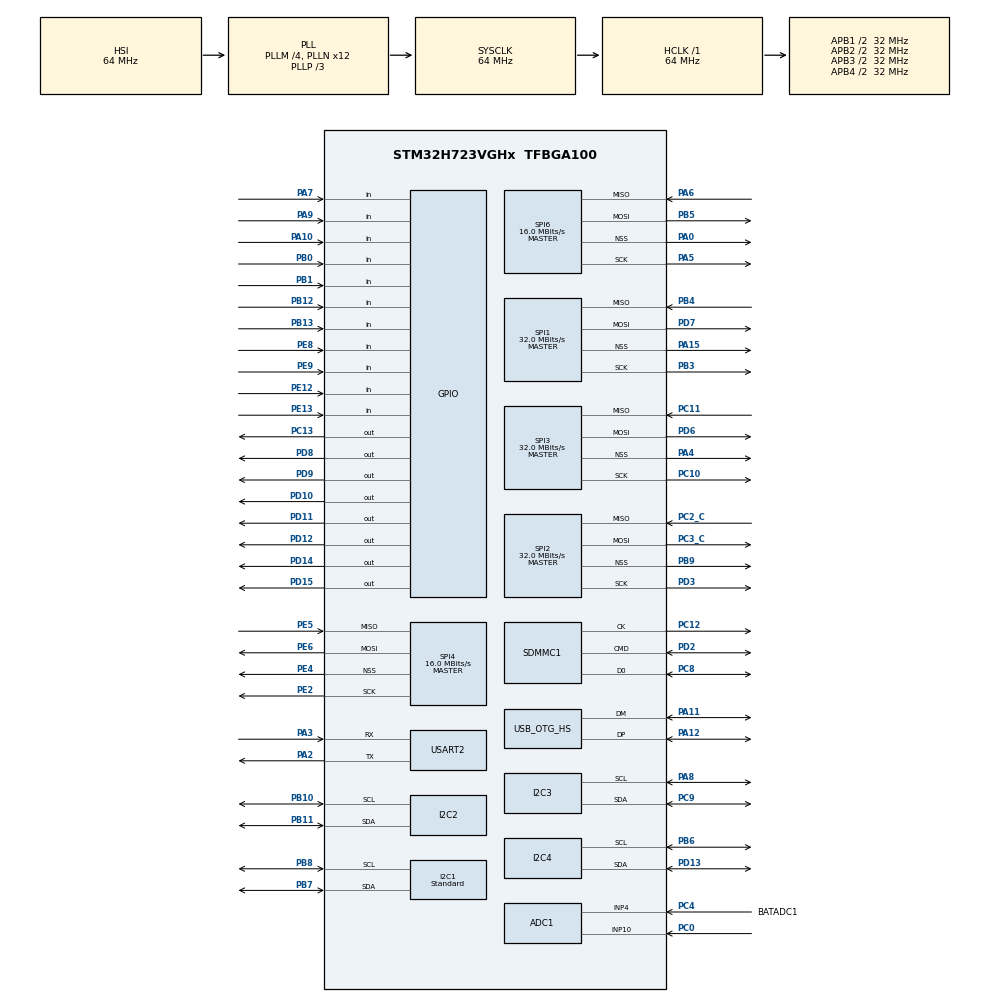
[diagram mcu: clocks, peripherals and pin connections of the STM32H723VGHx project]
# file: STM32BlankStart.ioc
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ADC1.Channel-5\#ChannelRegularConversion=ADC_CHANNEL_4
ADC1.NbrOfConversionFlag=1
ADC1.OffsetNumber-5\#ChannelRegularConversion=ADC_OFFSET_NONE
ADC1.OffsetSignedSaturation-5\#ChannelRegularConversion=DISABLE
ADC1.Rank-5\#ChannelRegularConversion=1
ADC1.SamplingTime-5\#ChannelRegularConversion=ADC_SAMPLETIME_1CYCLE_5
ADC1.master=1
I2C1.I2C_Speed_Mode=I2C_Standard
I2C1.OwnAddress=0x77
I2C1.Timing=0x00707CBB
I2C2.OwnAddress=0x77
I2C2.Timing=0x00707CBB
I2C3.OwnAddress=0x77
I2C3.Timing=0x00707CBB
I2C4.Timing=0x00707CBB
Mcu.Family=STM32H7
Mcu.Name=STM32H723VGHx
Mcu.Package=TFBGA100
NVIC.OTG_HS_IRQn=true\:0\:0\:false\:false\:true\:false\:true\:true
NVIC.PriorityGroup=NVIC_PRIORITYGROUP_4
PA0.Mode=NSS_Signal_Hard_Output
PA0.Signal=SPI6_NSS
PA10.Signal=GPIO_Input
PA11.Mode=Device_Only_FS
PA11.Signal=USB_OTG_HS_DM
PA12.Mode=Device_Only_FS
PA12.Signal=USB_OTG_HS_DP
PA13(JTMS/SWDIO).Mode=Serial_Wire
PA13(JTMS/SWDIO).Signal=DEBUG_JTMS-SWDIO
PA14(JTCK/SWCLK).Mode=Serial_Wire
PA14(JTCK/SWCLK).Signal=DEBUG_JTCK-SWCLK
PA15(JTDI).Mode=NSS_Signal_Hard_Output
PA15(JTDI).Signal=SPI1_NSS
PA2.Mode=Asynchronous
PA2.Signal=USART2_TX
PA3.Mode=Asynchronous
PA3.Signal=USART2_RX
PA4.Mode=NSS_Signal_Hard_Output
PA4.Signal=SPI3_NSS
PA5.Mode=Full_Duplex_Master
PA5.Signal=SPI6_SCK
PA6.Mode=Full_Duplex_Master
PA6.Signal=SPI6_MISO
PA7.Signal=GPIO_Input
PA8.Mode=I2C
PA8.Signal=I2C3_SCL
PA9.Signal=GPIO_Input
PB0.Signal=GPIO_Input
PB1.Signal=GPIO_Input
PB10.Mode=I2C
PB10.Signal=I2C2_SCL
PB11.Mode=I2C
PB11.Signal=I2C2_SDA
PB12.Signal=GPIO_Input
PB13.Signal=GPIO_Input
PB3(JTDO/TRACESWO).Mode=Full_Duplex_Master
PB3(JTDO/TRACESWO).Signal=SPI1_SCK
PB4(NJTRST).Mode=Full_Duplex_Master
PB4(NJTRST).Signal=SPI1_MISO
PB5.Mode=Full_Duplex_Master
PB5.Signal=SPI6_MOSI
PB6.Mode=I2C
PB6.Signal=I2C4_SCL
PB7.Mode=I2C
PB7.Signal=I2C1_SDA
PB8.Mode=I2C
PB8.Signal=I2C1_SCL
PB9.Mode=NSS_Signal_Hard_Output
PB9.Signal=SPI2_NSS
PC0.Signal=ADCx_INP10
PC10.Mode=Full_Duplex_Master
PC10.Signal=SPI3_SCK
PC11.Mode=Full_Duplex_Master
PC11.Signal=SPI3_MISO
PC12.Mode=mmc_1_bit
PC12.Signal=SDMMC1_CK
PC13.Signal=GPIO_Output
PC14-OSC32_IN.Mode=LSE-External-Oscillator
PC14-OSC32_IN.Signal=RCC_OSC32_IN
PC15-OSC32_OUT.Mode=LSE-External-Oscillator
PC15-OSC32_OUT.Signal=RCC_OSC32_OUT
PC2_C.Mode=Full_Duplex_Master
PC2_C.Signal=SPI2_MISO
PC3_C.Mode=Full_Duplex_Master
PC3_C.Signal=SPI2_MOSI
PC4.GPIO_Label=BATADC1
PC4.Signal=ADCx_INP4
PC8.Mode=mmc_1_bit
PC8.Signal=SDMMC1_D0
PC9.Mode=I2C
PC9.Signal=I2C3_SDA
PD10.Signal=GPIO_Output
PD11.Signal=GPIO_Output
PD12.Signal=GPIO_Output
PD13.Mode=I2C
PD13.Signal=I2C4_SDA
PD14.Signal=GPIO_Output
PD15.Signal=GPIO_Output
PD2.Mode=mmc_1_bit
PD2.Signal=SDMMC1_CMD
PD3.Mode=Full_Duplex_Master
PD3.Signal=SPI2_SCK
PD6.Mode=Full_Duplex_Master
PD6.Signal=SPI3_MOSI
PD7.Mode=Full_Duplex_Master
PD7.Signal=SPI1_MOSI
PD8.Signal=GPIO_Output
PD9.Signal=GPIO_Output
PE12.Signal=GPIO_Input
PE13.Signal=GPIO_Input
PE2.Mode=Full_Duplex_Master
PE2.Signal=SPI4_SCK
PE4.Mode=NSS_Signal_Hard_Output
PE4.Signal=SPI4_NSS
PE5.Mode=Full_Duplex_Master
PE5.Signal=SPI4_MISO
PE6.Mode=Full_Duplex_Master
PE6.Signal=SPI4_MOSI
PE8.Signal=GPIO_Input
PE9.Signal=GPIO_Input
PH0-OSC_IN.Mode=HSE-External-Oscillator
PH0-OSC_IN.Signal=RCC_OSC_IN
PH1-OSC_OUT.Mode=HSE-External-Oscillator
PH1-OSC_OUT.Signal=RCC_OSC_OUT
ProjectManager.HeapSize=0x200
ProjectManager.StackSize=0x400
ProjectManager.TargetToolchain=STM32CubeIDE
RCC.ADCFreq_Value=38400000
RCC.APB1Freq_Value=32000000
RCC.APB2Freq_Value=32000000
RCC.APB3Freq_Value=32000000
RCC.APB4Freq_Value=32000000
RCC.CortexFreq_Value=64000000
RCC.D1PPRE=RCC_APB3_DIV2
RCC.D2PPRE1=RCC_APB1_DIV2
RCC.D2PPRE2=RCC_APB2_DIV2
RCC.D3PPRE=RCC_APB4_DIV2
RCC.DIVM1=4
RCC.DIVM2=4
RCC.DIVN1=12
RCC.DIVN2=12
RCC.DIVP1=3
RCC.DIVP2=5
RCC.DIVQ1=1
RCC.HCLKFreq_Value=64000000
RCC.HSE_VALUE=25000000
RCC.PLL2FRACN=0
RCC.PLL2_VCI_Range-AdvancedSettings=RCC_PLL2VCIRANGE_3
RCC.PLL2_VCO_SEL-AdvancedSettings=RCC_PLL2VCOMEDIUM
RCC.PLL3_VCI_Range-AdvancedSettings=RCC_PLL3VCIRANGE_3
RCC.PLLFRACN=0
RCC.SDMMC1CLockSelection=RCC_SDMMCCLKSOURCE_PLL2
RCC.SPI123CLockSelection=RCC_SPI123CLKSOURCE_CLKP
RCC.SYSCLKFreq_VALUE=64000000
RCC.SYSCLKSource=RCC_SYSCLKSOURCE_PLLCLK
RCC.USBCLockSelection=RCC_USBCLKSOURCE_HSI48
RCC.USBFreq_Value=48000000
SH.ADCx_INP10.0=ADC1_INP10,IN10-Single-Ended
SH.ADCx_INP4.0=ADC1_INP4,IN4-Single-Ended
SPI1.CalculateBaudRate=32.0 MBits/s
SPI1.Direction=SPI_DIRECTION_2LINES
SPI1.Mode=SPI_MODE_MASTER
SPI1.TIMode=SPI_TIMODE_DISABLE
SPI1.VirtualNSS=VM_NSSHARD
SPI1.VirtualType=VM_MASTER
SPI2.CalculateBaudRate=32.0 MBits/s
SPI2.Direction=SPI_DIRECTION_2LINES
SPI2.Mode=SPI_MODE_MASTER
SPI2.VirtualNSS=VM_NSSHARD
SPI2.VirtualType=VM_MASTER
SPI3.CalculateBaudRate=32.0 MBits/s
SPI3.DataSize=SPI_DATASIZE_4BIT
SPI3.Direction=SPI_DIRECTION_2LINES
SPI3.Mode=SPI_MODE_MASTER
SPI3.VirtualNSS=VM_NSSHARD
SPI3.VirtualType=VM_MASTER
SPI4.CalculateBaudRate=16.0 MBits/s
SPI4.Direction=SPI_DIRECTION_2LINES
SPI4.Mode=SPI_MODE_MASTER
SPI4.VirtualNSS=VM_NSSHARD
SPI4.VirtualType=VM_MASTER
SPI6.CalculateBaudRate=16.0 MBits/s
SPI6.Direction=SPI_DIRECTION_2LINES
SPI6.Mode=SPI_MODE_MASTER
SPI6.VirtualNSS=VM_NSSHARD
SPI6.VirtualType=VM_MASTER
USART2.VirtualMode-Asynchronous=VM_ASYNC
USB_DEVICE.CLASS_NAME_HS=CDC
USB_DEVICE.VirtualMode=Cdc
USB_DEVICE.VirtualModeHS=Cdc_HS
USB_OTG_HS.VirtualMode-Device_Only_FS=Device_Only_FS
VP_CORDIC_VS_CORDIC.Mode=CORDIC_Activate
VP_CRC_VS_CRC.Mode=CRC_Activate
VP_FATFS_VS_Generic.Mode=User_defined
VP_FMAC_VS_FMAC.Mode=FMAC_Activate
VP_RNG_VS_RNG.Mode=RNG_Activate
VP_USB_DEVICE_VS_USB_DEVICE_CDC_HS.Mode=CDC_HS
board=custom

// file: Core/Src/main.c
/* USER CODE BEGIN Header */
/**
  ******************************************************************************
  * @file           : main.c
  * @brief          : Main program body
  ******************************************************************************
  * @attention
  *
  * Copyright (c) 2024 STMicroelectronics.
  * All rights reserved.
  *
  * This software is licensed under terms that can be found in the LICENSE file
  * in the root directory of this software component.
  * If no LICENSE file comes with this software, it is provided AS-IS.
  *
  ******************************************************************************
  */
/* USER CODE END Header */

/* USER CODE BEGIN Includes */
#include "main.h"
#include "fatfs.h"
#include "usb_device.h"
#include "usbd_cdc_if.h"
#include "GNSS.h"

/* USER CODE END Includes */

ADC_HandleTypeDef hadc1;

CORDIC_HandleTypeDef hcordic;

CRC_HandleTypeDef hcrc;

FMAC_HandleTypeDef hfmac;

I2C_HandleTypeDef hi2c1;
I2C_HandleTypeDef hi2c2;
I2C_HandleTypeDef hi2c3;
I2C_HandleTypeDef hi2c4;

RNG_HandleTypeDef hrng;

MMC_HandleTypeDef hmmc1;

SPI_HandleTypeDef hspi1;
SPI_HandleTypeDef hspi2;
SPI_HandleTypeDef hspi3;
SPI_HandleTypeDef hspi4;
SPI_HandleTypeDef hspi6;

UART_HandleTypeDef huart2;

void SystemClock_Config(void);
void PeriphCommonClock_Config(void);
static void MX_GPIO_Init(void);
static void MX_CORDIC_Init(void);
static void MX_CRC_Init(void);
static void MX_FMAC_Init(void);
static void MX_I2C1_Init(void);
static void MX_I2C2_Init(void);
static void MX_I2C3_Init(void);
static void MX_I2C4_Init(void);
static void MX_RNG_Init(void);
static void MX_SDMMC1_MMC_Init(void);
static void MX_SPI1_Init(void);
static void MX_SPI2_Init(void);
static void MX_SPI3_Init(void);
static void MX_SPI4_Init(void);
static void MX_SPI6_Init(void);
static void MX_ADC1_Init(void);
static void MX_USART2_UART_Init(void);

/* USER CODE BEGIN 0 */
void CDC_Transmit_String(char *str) {
    uint8_t *buf = (uint8_t *)str;
    uint16_t len = strlen(str);
    CDC_Transmit_HS(buf, len);
}

void CDC_Transmit_uint8(uint8_t value) {
    uint8_t buffer[4];
    int offset = 0;

    // Format the uint8_t value as a two-digit hexadecimal string
    offset += sprintf((char *)buffer, "%03u", value);

    // Append a newline character
    buffer[offset++] = '\r';
    buffer[offset++] = '\n';

    CDC_Transmit_HS(buffer, offset);
}

void CDC_Transmit_float(float value) {
    uint8_t buffer[16];
    int offset = 0;

    // Format the float value as a string
    offset += sprintf((char *)buffer, "%.6f\r\n", value);

    CDC_Transmit_HS(buffer, offset);
}
void CDC_Transmit_UniqueID(uint8_t *uniqueID) {
    uint8_t buffer[64];
    int offset = 0;

    offset += sprintf((char *)buffer, "Unique ID: %04X %04X %04X %04X %04X\r\n",
                      uniqueID[0], uniqueID[1], uniqueID[2], uniqueID[3], uniqueID[4]);

    CDC_Transmit_HS(buffer, offset);
}
/* USER CODE END 0 */

int main(void)
{

  /* MCU Configuration--------------------------------------------------------*/

  /* Reset of all peripherals, Initializes the Flash interface and the Systick. */
	HAL_Init();

  /* Configure the system clock */
  SystemClock_Config();

/* Configure the peripherals common clocks */
  PeriphCommonClock_Config();

  /* Initialize all configured peripherals */
  MX_GPIO_Init();
  MX_CORDIC_Init();
  MX_CRC_Init();
  MX_FMAC_Init();
  MX_I2C1_Init();
  MX_I2C2_Init();
  MX_I2C3_Init();
  MX_I2C4_Init();
  MX_RNG_Init();
  MX_SDMMC1_MMC_Init();
  MX_SPI1_Init();
  MX_SPI2_Init();
  MX_SPI3_Init();
  MX_SPI4_Init();
  MX_SPI6_Init();
  MX_ADC1_Init();
  MX_USART2_UART_Init();
  MX_FATFS_Init();
  MX_USB_DEVICE_Init();
  /* USER CODE BEGIN 2 */
 GNSS_Init(&GNSS_Handle, &hi2c4);
 HAL_Delay(1000);
 GNSS_LoadConfig(&GNSS_Handle);
 uint32_t Timer = HAL_GetTick();
  /* USER CODE END 2 */

  /* Infinite loop */
  /* USER CODE BEGIN WHILE */
  while (1)
  {
	  CDC_Transmit_String("Test \r\n");
	  HAL_Delay(500);
    /* USER CODE END WHILE */

    /* USER CODE BEGIN 3 */
	  if ((HAL_GetTick() - Timer) > 1000) {
	 	  			GNSS_GetUniqID(&GNSS_Handle);
	 	  			GNSS_ParseBuffer(&GNSS_Handle);
	 	  			HAL_Delay(250);
	 	  			GNSS_GetPVTData(&GNSS_Handle);
	 	  			GNSS_ParseBuffer(&GNSS_Handle);
	 	  			CDC_Transmit_String("Day: %d-%d-%d \r\n");
	 	  			CDC_Transmit_uint8(GNSS_Handle.day);
	 	  			CDC_Transmit_uint8(GNSS_Handle.month);
	 	  			CDC_Transmit_uint8(GNSS_Handle.year);
	 	  			CDC_Transmit_String("Time: %d:%d:%d \r\n");
	 	  			CDC_Transmit_uint8(GNSS_Handle.hour);
	 	  			CDC_Transmit_uint8(GNSS_Handle.min);
	 	  			CDC_Transmit_uint8(GNSS_Handle.sec);
	 	  			CDC_Transmit_String("Status of fix: %d \r\n");
	 	  			CDC_Transmit_uint8(GNSS_Handle.fixType);
	 	  			CDC_Transmit_String("Latitude: %f \r\n");
	 	  			CDC_Transmit_uint8(GNSS_Handle.fLat);
	 	  			CDC_Transmit_String("Longitude: %f \r\n");
	 	  			CDC_Transmit_float((float) GNSS_Handle.lon / 10000000.0);
	 	  			CDC_Transmit_String("Height above ellipsoid: %d \r\n");
	 	  			CDC_Transmit_uint8(GNSS_Handle.height);
	 	  			CDC_Transmit_String("Height above mean sea level: %d \r\n");
	 	  			CDC_Transmit_uint8(GNSS_Handle.hMSL);
	 	  			CDC_Transmit_String("Ground Speed (2-D): %d \r\n");
	 	  			CDC_Transmit_uint8(GNSS_Handle.gSpeed);
	 	  			CDC_Transmit_UniqueID(GNSS_Handle.uniqueID);
	 	  			Timer = HAL_GetTick();
	 	  		}
  }
  /* USER CODE END 3 */
}

void SystemClock_Config(void)
{
  RCC_OscInitTypeDef RCC_OscInitStruct = {0};
  RCC_ClkInitTypeDef RCC_ClkInitStruct = {0};

  /** Supply configuration update enable
  */
  HAL_PWREx_ConfigSupply(PWR_LDO_SUPPLY);

  /** Configure the main internal regulator output voltage
  */
  __HAL_PWR_VOLTAGESCALING_CONFIG(PWR_REGULATOR_VOLTAGE_SCALE3);

  while(!__HAL_PWR_GET_FLAG(PWR_FLAG_VOSRDY)) {}

  /** Initializes the RCC Oscillators according to the specified parameters
  * in the RCC_OscInitTypeDef structure.
  */
  RCC_OscInitStruct.OscillatorType = RCC_OSCILLATORTYPE_HSI48|RCC_OSCILLATORTYPE_HSI;
  RCC_OscInitStruct.HSIState = RCC_HSI_DIV1;
  RCC_OscInitStruct.HSICalibrationValue = 64;
  RCC_OscInitStruct.HSI48State = RCC_HSI48_ON;
  RCC_OscInitStruct.PLL.PLLState = RCC_PLL_ON;
  RCC_OscInitStruct.PLL.PLLSource = RCC_PLLSOURCE_HSI;
  RCC_OscInitStruct.PLL.PLLM = 4;
  RCC_OscInitStruct.PLL.PLLN = 12;
  RCC_OscInitStruct.PLL.PLLP = 3;
  RCC_OscInitStruct.PLL.PLLQ = 1;
  RCC_OscInitStruct.PLL.PLLR = 2;
  RCC_OscInitStruct.PLL.PLLRGE = RCC_PLL1VCIRANGE_3;
  RCC_OscInitStruct.PLL.PLLVCOSEL = RCC_PLL1VCOWIDE;
  RCC_OscInitStruct.PLL.PLLFRACN = 0;
  if (HAL_RCC_OscConfig(&RCC_OscInitStruct) != HAL_OK)
  {
    Error_Handler();
  }

  /** Initializes the CPU, AHB and APB buses clocks
  */
  RCC_ClkInitStruct.ClockType = RCC_CLOCKTYPE_HCLK|RCC_CLOCKTYPE_SYSCLK
                              |RCC_CLOCKTYPE_PCLK1|RCC_CLOCKTYPE_PCLK2
                              |RCC_CLOCKTYPE_D3PCLK1|RCC_CLOCKTYPE_D1PCLK1;
  RCC_ClkInitStruct.SYSCLKSource = RCC_SYSCLKSOURCE_PLLCLK;
  RCC_ClkInitStruct.SYSCLKDivider = RCC_SYSCLK_DIV1;
  RCC_ClkInitStruct.AHBCLKDivider = RCC_HCLK_DIV1;
  RCC_ClkInitStruct.APB3CLKDivider = RCC_APB3_DIV2;
  RCC_ClkInitStruct.APB1CLKDivider = RCC_APB1_DIV2;
  RCC_ClkInitStruct.APB2CLKDivider = RCC_APB2_DIV2;
  RCC_ClkInitStruct.APB4CLKDivider = RCC_APB4_DIV2;

  if (HAL_RCC_ClockConfig(&RCC_ClkInitStruct, FLASH_LATENCY_1) != HAL_OK)
  {
    Error_Handler();
  }
}

void PeriphCommonClock_Config(void)
{
  RCC_PeriphCLKInitTypeDef PeriphClkInitStruct = {0};

  /** Initializes the peripherals clock
  */
  PeriphClkInitStruct.PeriphClockSelection = RCC_PERIPHCLK_ADC|RCC_PERIPHCLK_SDMMC
                              |RCC_PERIPHCLK_CKPER;
  PeriphClkInitStruct.PLL2.PLL2M = 4;
  PeriphClkInitStruct.PLL2.PLL2N = 12;
  PeriphClkInitStruct.PLL2.PLL2P = 5;
  PeriphClkInitStruct.PLL2.PLL2Q = 2;
  PeriphClkInitStruct.PLL2.PLL2R = 2;
  PeriphClkInitStruct.PLL2.PLL2RGE = RCC_PLL2VCIRANGE_3;
  PeriphClkInitStruct.PLL2.PLL2VCOSEL = RCC_PLL2VCOWIDE;
  PeriphClkInitStruct.PLL2.PLL2FRACN = 0;
  PeriphClkInitStruct.SdmmcClockSelection = RCC_SDMMCCLKSOURCE_PLL2;
  PeriphClkInitStruct.CkperClockSelection = RCC_CLKPSOURCE_HSI;
  PeriphClkInitStruct.AdcClockSelection = RCC_ADCCLKSOURCE_PLL2;
  if (HAL_RCCEx_PeriphCLKConfig(&PeriphClkInitStruct) != HAL_OK)
  {
    Error_Handler();
  }
}

static void MX_ADC1_Init(void)
{

  ADC_MultiModeTypeDef multimode = {0};
  ADC_ChannelConfTypeDef sConfig = {0};

  /** Common config
  */
  hadc1.Instance = ADC1;
  hadc1.Init.ClockPrescaler = ADC_CLOCK_ASYNC_DIV1;
  hadc1.Init.Resolution = ADC_RESOLUTION_16B;
  hadc1.Init.ScanConvMode = ADC_SCAN_DISABLE;
  hadc1.Init.EOCSelection = ADC_EOC_SINGLE_CONV;
  hadc1.Init.LowPowerAutoWait = DISABLE;
  hadc1.Init.ContinuousConvMode = DISABLE;
  hadc1.Init.NbrOfConversion = 1;
  hadc1.Init.DiscontinuousConvMode = DISABLE;
  hadc1.Init.ExternalTrigConv = ADC_SOFTWARE_START;
  hadc1.Init.ExternalTrigConvEdge = ADC_EXTERNALTRIGCONVEDGE_NONE;
  hadc1.Init.ConversionDataManagement = ADC_CONVERSIONDATA_DR;
  hadc1.Init.Overrun = ADC_OVR_DATA_PRESERVED;
  hadc1.Init.LeftBitShift = ADC_LEFTBITSHIFT_NONE;
  hadc1.Init.OversamplingMode = DISABLE;
  if (HAL_ADC_Init(&hadc1) != HAL_OK)
  {
    Error_Handler();
  }

  /** Configure the ADC multi-mode
  */
  multimode.Mode = ADC_MODE_INDEPENDENT;
  if (HAL_ADCEx_MultiModeConfigChannel(&hadc1, &multimode) != HAL_OK)
  {
    Error_Handler();
  }

  /** Configure Regular Channel
  */
  sConfig.Channel = ADC_CHANNEL_4;
  sConfig.Rank = ADC_REGULAR_RANK_1;
  sConfig.SamplingTime = ADC_SAMPLETIME_1CYCLE_5;
  sConfig.SingleDiff = ADC_SINGLE_ENDED;
  sConfig.OffsetNumber = ADC_OFFSET_NONE;
  sConfig.Offset = 0;
  sConfig.OffsetSignedSaturation = DISABLE;
  if (HAL_ADC_ConfigChannel(&hadc1, &sConfig) != HAL_OK)
  {
    Error_Handler();
  }

}

static void MX_CORDIC_Init(void)
{

  hcordic.Instance = CORDIC;
  if (HAL_CORDIC_Init(&hcordic) != HAL_OK)
  {
    Error_Handler();
  }

}

static void MX_CRC_Init(void)
{

  hcrc.Instance = CRC;
  hcrc.Init.DefaultPolynomialUse = DEFAULT_POLYNOMIAL_ENABLE;
  hcrc.Init.DefaultInitValueUse = DEFAULT_INIT_VALUE_ENABLE;
  hcrc.Init.InputDataInversionMode = CRC_INPUTDATA_INVERSION_NONE;
  hcrc.Init.OutputDataInversionMode = CRC_OUTPUTDATA_INVERSION_DISABLE;
  hcrc.InputDataFormat = CRC_INPUTDATA_FORMAT_BYTES;
  if (HAL_CRC_Init(&hcrc) != HAL_OK)
  {
    Error_Handler();
  }

}

static void MX_FMAC_Init(void)
{

  hfmac.Instance = FMAC;
  if (HAL_FMAC_Init(&hfmac) != HAL_OK)
  {
    Error_Handler();
  }

}

static void MX_I2C1_Init(void)
{

  hi2c1.Instance = I2C1;
  hi2c1.Init.Timing = 0x00707CBB;
  hi2c1.Init.OwnAddress1 = 238;
  hi2c1.Init.AddressingMode = I2C_ADDRESSINGMODE_7BIT;
  hi2c1.Init.DualAddressMode = I2C_DUALADDRESS_DISABLE;
  hi2c1.Init.OwnAddress2 = 0;
  hi2c1.Init.OwnAddress2Masks = I2C_OA2_NOMASK;
  hi2c1.Init.GeneralCallMode = I2C_GENERALCALL_DISABLE;
  hi2c1.Init.NoStretchMode = I2C_NOSTRETCH_DISABLE;
  if (HAL_I2C_Init(&hi2c1) != HAL_OK)
  {
    Error_Handler();
  }

  /** Configure Analogue filter
  */
  if (HAL_I2CEx_ConfigAnalogFilter(&hi2c1, I2C_ANALOGFILTER_ENABLE) != HAL_OK)
  {
    Error_Handler();
  }

  /** Configure Digital filter
  */
  if (HAL_I2CEx_ConfigDigitalFilter(&hi2c1, 0) != HAL_OK)
  {
    Error_Handler();
  }

}

static void MX_I2C2_Init(void)
{

  hi2c2.Instance = I2C2;
  hi2c2.Init.Timing = 0x00707CBB;
  hi2c2.Init.OwnAddress1 = 238;
  hi2c2.Init.AddressingMode = I2C_ADDRESSINGMODE_7BIT;
  hi2c2.Init.DualAddressMode = I2C_DUALADDRESS_DISABLE;
  hi2c2.Init.OwnAddress2 = 0;
  hi2c2.Init.OwnAddress2Masks = I2C_OA2_NOMASK;
  hi2c2.Init.GeneralCallMode = I2C_GENERALCALL_DISABLE;
  hi2c2.Init.NoStretchMode = I2C_NOSTRETCH_DISABLE;
  if (HAL_I2C_Init(&hi2c2) != HAL_OK)
  {
    Error_Handler();
  }

  /** Configure Analogue filter
  */
  if (HAL_I2CEx_ConfigAnalogFilter(&hi2c2, I2C_ANALOGFILTER_ENABLE) != HAL_OK)
  {
    Error_Handler();
  }

  /** Configure Digital filter
  */
  if (HAL_I2CEx_ConfigDigitalFilter(&hi2c2, 0) != HAL_OK)
  {
    Error_Handler();
  }

}

static void MX_I2C3_Init(void)
{

  hi2c3.Instance = I2C3;
  hi2c3.Init.Timing = 0x00707CBB;
  hi2c3.Init.OwnAddress1 = 238;
  hi2c3.Init.AddressingMode = I2C_ADDRESSINGMODE_7BIT;
  hi2c3.Init.DualAddressMode = I2C_DUALADDRESS_DISABLE;
  hi2c3.Init.OwnAddress2 = 0;
  hi2c3.Init.OwnAddress2Masks = I2C_OA2_NOMASK;
  hi2c3.Init.GeneralCallMode = I2C_GENERALCALL_DISABLE;
  hi2c3.Init.NoStretchMode = I2C_NOSTRETCH_DISABLE;
  if (HAL_I2C_Init(&hi2c3) != HAL_OK)
  {
    Error_Handler();
  }

  /** Configure Analogue filter
  */
  if (HAL_I2CEx_ConfigAnalogFilter(&hi2c3, I2C_ANALOGFILTER_ENABLE) != HAL_OK)
  {
    Error_Handler();
  }

  /** Configure Digital filter
  */
  if (HAL_I2CEx_ConfigDigitalFilter(&hi2c3, 0) != HAL_OK)
  {
    Error_Handler();
  }

}

static void MX_I2C4_Init(void)
{

  hi2c4.Instance = I2C4;
  hi2c4.Init.Timing = 0x00707CBB;
  hi2c4.Init.OwnAddress1 = 0;
  hi2c4.Init.AddressingMode = I2C_ADDRESSINGMODE_7BIT;
  hi2c4.Init.DualAddressMode = I2C_DUALADDRESS_DISABLE;
  hi2c4.Init.OwnAddress2 = 0;
  hi2c4.Init.OwnAddress2Masks = I2C_OA2_NOMASK;
  hi2c4.Init.GeneralCallMode = I2C_GENERALCALL_DISABLE;
  hi2c4.Init.NoStretchMode = I2C_NOSTRETCH_DISABLE;
  if (HAL_I2C_Init(&hi2c4) != HAL_OK)
  {
    Error_Handler();
  }

  /** Configure Analogue filter
  */
  if (HAL_I2CEx_ConfigAnalogFilter(&hi2c4, I2C_ANALOGFILTER_ENABLE) != HAL_OK)
  {
    Error_Handler();
  }

  /** Configure Digital filter
  */
  if (HAL_I2CEx_ConfigDigitalFilter(&hi2c4, 0) != HAL_OK)
  {
    Error_Handler();
  }

}

static void MX_RNG_Init(void)
{

  hrng.Instance = RNG;
  hrng.Init.ClockErrorDetection = RNG_CED_ENABLE;
  if (HAL_RNG_Init(&hrng) != HAL_OK)
  {
    Error_Handler();
  }

}

static void MX_SDMMC1_MMC_Init(void)
{

  hmmc1.Instance = SDMMC1;
  hmmc1.Init.ClockEdge = SDMMC_CLOCK_EDGE_RISING;
  hmmc1.Init.ClockPowerSave = SDMMC_CLOCK_POWER_SAVE_DISABLE;
  hmmc1.Init.BusWide = SDMMC_BUS_WIDE_1B;
  hmmc1.Init.HardwareFlowControl = SDMMC_HARDWARE_FLOW_CONTROL_DISABLE;
  hmmc1.Init.ClockDiv = 0;
  if (HAL_MMC_Init(&hmmc1) != HAL_OK)
  {
    Error_Handler();
  }

}

static void MX_SPI1_Init(void)
{

  /* SPI1 parameter configuration*/
  hspi1.Instance = SPI1;
  hspi1.Init.Mode = SPI_MODE_MASTER;
  hspi1.Init.Direction = SPI_DIRECTION_2LINES;
  hspi1.Init.DataSize = SPI_DATASIZE_4BIT;
  hspi1.Init.CLKPolarity = SPI_POLARITY_LOW;
  hspi1.Init.CLKPhase = SPI_PHASE_1EDGE;
  hspi1.Init.NSS = SPI_NSS_HARD_OUTPUT;
  hspi1.Init.BaudRatePrescaler = SPI_BAUDRATEPRESCALER_2;
  hspi1.Init.FirstBit = SPI_FIRSTBIT_MSB;
  hspi1.Init.TIMode = SPI_TIMODE_DISABLE;
  hspi1.Init.CRCCalculation = SPI_CRCCALCULATION_DISABLE;
  hspi1.Init.CRCPolynomial = 0x0;
  hspi1.Init.NSSPMode = SPI_NSS_PULSE_ENABLE;
  hspi1.Init.NSSPolarity = SPI_NSS_POLARITY_LOW;
  hspi1.Init.FifoThreshold = SPI_FIFO_THRESHOLD_01DATA;
  hspi1.Init.TxCRCInitializationPattern = SPI_CRC_INITIALIZATION_ALL_ZERO_PATTERN;
  hspi1.Init.RxCRCInitializationPattern = SPI_CRC_INITIALIZATION_ALL_ZERO_PATTERN;
  hspi1.Init.MasterSSIdleness = SPI_MASTER_SS_IDLENESS_00CYCLE;
  hspi1.Init.MasterInterDataIdleness = SPI_MASTER_INTERDATA_IDLENESS_00CYCLE;
  hspi1.Init.MasterReceiverAutoSusp = SPI_MASTER_RX_AUTOSUSP_DISABLE;
  hspi1.Init.MasterKeepIOState = SPI_MASTER_KEEP_IO_STATE_DISABLE;
  hspi1.Init.IOSwap = SPI_IO_SWAP_DISABLE;
  if (HAL_SPI_Init(&hspi1) != HAL_OK)
  {
    Error_Handler();
  }

}

static void MX_SPI2_Init(void)
{

  /* SPI2 parameter configuration*/
  hspi2.Instance = SPI2;
  hspi2.Init.Mode = SPI_MODE_MASTER;
  hspi2.Init.Direction = SPI_DIRECTION_2LINES;
  hspi2.Init.DataSize = SPI_DATASIZE_4BIT;
  hspi2.Init.CLKPolarity = SPI_POLARITY_LOW;
  hspi2.Init.CLKPhase = SPI_PHASE_1EDGE;
  hspi2.Init.NSS = SPI_NSS_HARD_OUTPUT;
  hspi2.Init.BaudRatePrescaler = SPI_BAUDRATEPRESCALER_2;
  hspi2.Init.FirstBit = SPI_FIRSTBIT_MSB;
  hspi2.Init.TIMode = SPI_TIMODE_DISABLE;
  hspi2.Init.CRCCalculation = SPI_CRCCALCULATION_DISABLE;
  hspi2.Init.CRCPolynomial = 0x0;
  hspi2.Init.NSSPMode = SPI_NSS_PULSE_ENABLE;
  hspi2.Init.NSSPolarity = SPI_NSS_POLARITY_LOW;
  hspi2.Init.FifoThreshold = SPI_FIFO_THRESHOLD_01DATA;
  hspi2.Init.TxCRCInitializationPattern = SPI_CRC_INITIALIZATION_ALL_ZERO_PATTERN;
  hspi2.Init.RxCRCInitializationPattern = SPI_CRC_INITIALIZATION_ALL_ZERO_PATTERN;
  hspi2.Init.MasterSSIdleness = SPI_MASTER_SS_IDLENESS_00CYCLE;
  hspi2.Init.MasterInterDataIdleness = SPI_MASTER_INTERDATA_IDLENESS_00CYCLE;
  hspi2.Init.MasterReceiverAutoSusp = SPI_MASTER_RX_AUTOSUSP_DISABLE;
  hspi2.Init.MasterKeepIOState = SPI_MASTER_KEEP_IO_STATE_DISABLE;
  hspi2.Init.IOSwap = SPI_IO_SWAP_DISABLE;
  if (HAL_SPI_Init(&hspi2) != HAL_OK)
  {
    Error_Handler();
  }

}

static void MX_SPI3_Init(void)
{

  /* SPI3 parameter configuration*/
  hspi3.Instance = SPI3;
  hspi3.Init.Mode = SPI_MODE_MASTER;
  hspi3.Init.Direction = SPI_DIRECTION_2LINES;
  hspi3.Init.DataSize = SPI_DATASIZE_4BIT;
  hspi3.Init.CLKPolarity = SPI_POLARITY_LOW;
  hspi3.Init.CLKPhase = SPI_PHASE_1EDGE;
  hspi3.Init.NSS = SPI_NSS_HARD_OUTPUT;
  hspi3.Init.BaudRatePrescaler = SPI_BAUDRATEPRESCALER_2;
  hspi3.Init.FirstBit = SPI_FIRSTBIT_MSB;
  hspi3.Init.TIMode = SPI_TIMODE_DISABLE;
  hspi3.Init.CRCCalculation = SPI_CRCCALCULATION_DISABLE;
  hspi3.Init.CRCPolynomial = 0x0;
  hspi3.Init.NSSPMode = SPI_NSS_PULSE_ENABLE;
  hspi3.Init.NSSPolarity = SPI_NSS_POLARITY_LOW;
  hspi3.Init.FifoThreshold = SPI_FIFO_THRESHOLD_01DATA;
  hspi3.Init.TxCRCInitializationPattern = SPI_CRC_INITIALIZATION_ALL_ZERO_PATTERN;
  hspi3.Init.RxCRCInitializationPattern = SPI_CRC_INITIALIZATION_ALL_ZERO_PATTERN;
  hspi3.Init.MasterSSIdleness = SPI_MASTER_SS_IDLENESS_00CYCLE;
  hspi3.Init.MasterInterDataIdleness = SPI_MASTER_INTERDATA_IDLENESS_00CYCLE;
  hspi3.Init.MasterReceiverAutoSusp = SPI_MASTER_RX_AUTOSUSP_DISABLE;
  hspi3.Init.MasterKeepIOState = SPI_MASTER_KEEP_IO_STATE_DISABLE;
  hspi3.Init.IOSwap = SPI_IO_SWAP_DISABLE;
  if (HAL_SPI_Init(&hspi3) != HAL_OK)
  {
    Error_Handler();
  }

}

static void MX_SPI4_Init(void)
{

  /* SPI4 parameter configuration*/
  hspi4.Instance = SPI4;
  hspi4.Init.Mode = SPI_MODE_MASTER;
  hspi4.Init.Direction = SPI_DIRECTION_2LINES;
  hspi4.Init.DataSize = SPI_DATASIZE_4BIT;
  hspi4.Init.CLKPolarity = SPI_POLARITY_LOW;
  hspi4.Init.CLKPhase = SPI_PHASE_1EDGE;
  hspi4.Init.NSS = SPI_NSS_HARD_OUTPUT;
  hspi4.Init.BaudRatePrescaler = SPI_BAUDRATEPRESCALER_2;
  hspi4.Init.FirstBit = SPI_FIRSTBIT_MSB;
  hspi4.Init.TIMode = SPI_TIMODE_DISABLE;
  hspi4.Init.CRCCalculation = SPI_CRCCALCULATION_DISABLE;
  hspi4.Init.CRCPolynomial = 0x0;
  hspi4.Init.NSSPMode = SPI_NSS_PULSE_ENABLE;
  hspi4.Init.NSSPolarity = SPI_NSS_POLARITY_LOW;
  hspi4.Init.FifoThreshold = SPI_FIFO_THRESHOLD_01DATA;
  hspi4.Init.TxCRCInitializationPattern = SPI_CRC_INITIALIZATION_ALL_ZERO_PATTERN;
  hspi4.Init.RxCRCInitializationPattern = SPI_CRC_INITIALIZATION_ALL_ZERO_PATTERN;
  hspi4.Init.MasterSSIdleness = SPI_MASTER_SS_IDLENESS_00CYCLE;
  hspi4.Init.MasterInterDataIdleness = SPI_MASTER_INTERDATA_IDLENESS_00CYCLE;
  hspi4.Init.MasterReceiverAutoSusp = SPI_MASTER_RX_AUTOSUSP_DISABLE;
  hspi4.Init.MasterKeepIOState = SPI_MASTER_KEEP_IO_STATE_DISABLE;
  hspi4.Init.IOSwap = SPI_IO_SWAP_DISABLE;
  if (HAL_SPI_Init(&hspi4) != HAL_OK)
  {
    Error_Handler();
  }

}

static void MX_SPI6_Init(void)
{

  /* SPI6 parameter configuration*/
  hspi6.Instance = SPI6;
  hspi6.Init.Mode = SPI_MODE_MASTER;
  hspi6.Init.Direction = SPI_DIRECTION_2LINES;
  hspi6.Init.DataSize = SPI_DATASIZE_4BIT;
  hspi6.Init.CLKPolarity = SPI_POLARITY_LOW;
  hspi6.Init.CLKPhase = SPI_PHASE_1EDGE;
  hspi6.Init.NSS = SPI_NSS_HARD_OUTPUT;
  hspi6.Init.BaudRatePrescaler = SPI_BAUDRATEPRESCALER_2;
  hspi6.Init.FirstBit = SPI_FIRSTBIT_MSB;
  hspi6.Init.TIMode = SPI_TIMODE_DISABLE;
  hspi6.Init.CRCCalculation = SPI_CRCCALCULATION_DISABLE;
  hspi6.Init.CRCPolynomial = 0x0;
  hspi6.Init.NSSPMode = SPI_NSS_PULSE_ENABLE;
  hspi6.Init.NSSPolarity = SPI_NSS_POLARITY_LOW;
  hspi6.Init.FifoThreshold = SPI_FIFO_THRESHOLD_01DATA;
  hspi6.Init.TxCRCInitializationPattern = SPI_CRC_INITIALIZATION_ALL_ZERO_PATTERN;
  hspi6.Init.RxCRCInitializationPattern = SPI_CRC_INITIALIZATION_ALL_ZERO_PATTERN;
  hspi6.Init.MasterSSIdleness = SPI_MASTER_SS_IDLENESS_00CYCLE;
  hspi6.Init.MasterInterDataIdleness = SPI_MASTER_INTERDATA_IDLENESS_00CYCLE;
  hspi6.Init.MasterReceiverAutoSusp = SPI_MASTER_RX_AUTOSUSP_DISABLE;
  hspi6.Init.MasterKeepIOState = SPI_MASTER_KEEP_IO_STATE_DISABLE;
  hspi6.Init.IOSwap = SPI_IO_SWAP_DISABLE;
  if (HAL_SPI_Init(&hspi6) != HAL_OK)
  {
    Error_Handler();
  }

}

static void MX_USART2_UART_Init(void)
{

  huart2.Instance = USART2;
  huart2.Init.BaudRate = 115200;
  huart2.Init.WordLength = UART_WORDLENGTH_8B;
  huart2.Init.StopBits = UART_STOPBITS_1;
  huart2.Init.Parity = UART_PARITY_NONE;
  huart2.Init.Mode = UART_MODE_TX_RX;
  huart2.Init.HwFlowCtl = UART_HWCONTROL_NONE;
  huart2.Init.OverSampling = UART_OVERSAMPLING_16;
  huart2.Init.OneBitSampling = UART_ONE_BIT_SAMPLE_DISABLE;
  huart2.Init.ClockPrescaler = UART_PRESCALER_DIV1;
  huart2.AdvancedInit.AdvFeatureInit = UART_ADVFEATURE_NO_INIT;
  if (HAL_UART_Init(&huart2) != HAL_OK)
  {
    Error_Handler();
  }
  if (HAL_UARTEx_SetTxFifoThreshold(&huart2, UART_TXFIFO_THRESHOLD_1_8) != HAL_OK)
  {
    Error_Handler();
  }
  if (HAL_UARTEx_SetRxFifoThreshold(&huart2, UART_RXFIFO_THRESHOLD_1_8) != HAL_OK)
  {
    Error_Handler();
  }
  if (HAL_UARTEx_DisableFifoMode(&huart2) != HAL_OK)
  {
    Error_Handler();
  }

}

static void MX_GPIO_Init(void)
{
  GPIO_InitTypeDef GPIO_InitStruct = {0};

  /* GPIO Ports Clock Enable */
  __HAL_RCC_GPIOC_CLK_ENABLE();
  __HAL_RCC_GPIOE_CLK_ENABLE();
  __HAL_RCC_GPIOB_CLK_ENABLE();
  __HAL_RCC_GPIOA_CLK_ENABLE();
  __HAL_RCC_GPIOD_CLK_ENABLE();
  __HAL_RCC_GPIOH_CLK_ENABLE();

  /*Configure GPIO pin Output Level */
  HAL_GPIO_WritePin(GPIOC, GPIO_PIN_13, GPIO_PIN_RESET);

  /*Configure GPIO pin Output Level */
  HAL_GPIO_WritePin(GPIOD, GPIO_PIN_15|GPIO_PIN_11|GPIO_PIN_14|GPIO_PIN_10
                          |GPIO_PIN_9|GPIO_PIN_8|GPIO_PIN_12, GPIO_PIN_RESET);

  /*Configure GPIO pin : PC13 */
  GPIO_InitStruct.Pin = GPIO_PIN_13;
  GPIO_InitStruct.Mode = GPIO_MODE_OUTPUT_PP;
  GPIO_InitStruct.Pull = GPIO_NOPULL;
  GPIO_InitStruct.Speed = GPIO_SPEED_FREQ_LOW;
  HAL_GPIO_Init(GPIOC, &GPIO_InitStruct);

  /*Configure GPIO pins : PA9 PA10 PA7 */
  GPIO_InitStruct.Pin = GPIO_PIN_9|GPIO_PIN_10|GPIO_PIN_7;
  GPIO_InitStruct.Mode = GPIO_MODE_INPUT;
  GPIO_InitStruct.Pull = GPIO_NOPULL;
  HAL_GPIO_Init(GPIOA, &GPIO_InitStruct);

  /*Configure GPIO pins : PD15 PD11 PD14 PD10
                           PD9 PD8 PD12 */
  GPIO_InitStruct.Pin = GPIO_PIN_15|GPIO_PIN_11|GPIO_PIN_14|GPIO_PIN_10
                          |GPIO_PIN_9|GPIO_PIN_8|GPIO_PIN_12;
  GPIO_InitStruct.Mode = GPIO_MODE_OUTPUT_PP;
  GPIO_InitStruct.Pull = GPIO_NOPULL;
  GPIO_InitStruct.Speed = GPIO_SPEED_FREQ_LOW;
  HAL_GPIO_Init(GPIOD, &GPIO_InitStruct);

  /*Configure GPIO pins : PB0 PB13 PB1 PB12 */
  GPIO_InitStruct.Pin = GPIO_PIN_0|GPIO_PIN_13|GPIO_PIN_1|GPIO_PIN_12;
  GPIO_InitStruct.Mode = GPIO_MODE_INPUT;
  GPIO_InitStruct.Pull = GPIO_NOPULL;
  HAL_GPIO_Init(GPIOB, &GPIO_InitStruct);

  /*Configure GPIO pins : PE8 PE12 PE9 PE13 */
  GPIO_InitStruct.Pin = GPIO_PIN_8|GPIO_PIN_12|GPIO_PIN_9|GPIO_PIN_13;
  GPIO_InitStruct.Mode = GPIO_MODE_INPUT;
  GPIO_InitStruct.Pull = GPIO_NOPULL;
  HAL_GPIO_Init(GPIOE, &GPIO_InitStruct);

}

void Error_Handler(void)
{
  __disable_irq();
  while (1)
  {
  }
}

#ifdef  USE_FULL_ASSERT
/**
  * @brief  Reports the name of the source file and the source line number
  *         where the assert_param error has occurred.
  * @param  file: pointer to the source file name
  * @param  line: assert_param error line source number
  * @retval None
  */
void assert_failed(uint8_t *file, uint32_t line)
{
  /* USER CODE BEGIN 6 */
  /* User can add his own implementation to report the file name and line number,
     ex: CDC_Transmit_String("Wrong parameters value: file %s on line %d\r\n", file, line) */
  /* USER CODE END 6 */
}
#endif /* USE_FULL_ASSERT */
